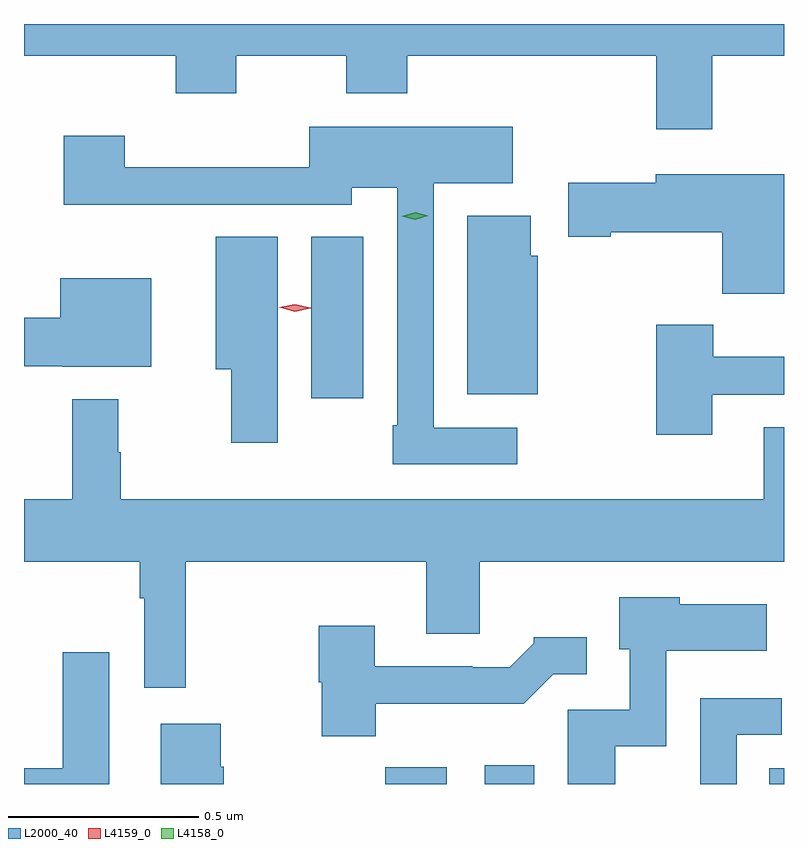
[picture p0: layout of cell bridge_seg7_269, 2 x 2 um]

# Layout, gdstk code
import gdstk
lib = gdstk.Library(unit=1e-6, precision=1e-09)
def R(c, l, rs):  # rectangles x0, y0, x1, y1
    for r in rs: c.add(gdstk.rectangle(r[:2], r[2:], *l))
def P(c, l, *ps):  # polygons
    for p in ps: c.add(gdstk.Polygon(p, *l))
L2000_40 = (2000, 40)
L4158_0 = (4158, 0)
L4159_0 = (4159, 0)

bridge_seg7_269 = lib.new_cell('bridge_seg7_269')
R(bridge_seg7_269, L2000_40, [(223.264,1075.955,223.426,1075.999), (223.526,1075.955,223.657,1076.005), (224.275,1075.955,224.314,1075.996), (223.07,1076.97,223.207,1077.395)])
P(bridge_seg7_269, L2000_40, [(224.125,1077.872),(224.314,1077.872),(224.314,1077.955),(222.314,1077.955),(222.314,1077.872),(222.713,1077.872),(222.713,1077.773),(222.873,1077.773),(222.873,1077.872),(223.162,1077.872),(223.162,1077.773),(223.322,1077.773),(223.322,1077.872),(223.978,1077.872),(223.978,1077.678),(224.125,1077.678)],
  [(223.612,1076.892),(223.392,1076.892),(223.392,1077.536),(223.6,1077.536),(223.6,1077.685),(223.064,1077.685),(223.064,1077.578),(222.579,1077.578),(222.579,1077.661),(222.419,1077.661),(222.419,1077.479),(222.667,1077.479),(222.667,1077.48),(223.177,1077.48),(223.177,1077.524),(223.296,1077.524),(223.296,1076.899),(223.284,1076.899),(223.284,1076.796),(223.612,1076.796)],
  [(224.314,1077.559),(223.976,1077.559),(223.976,1077.537),(223.746,1077.537),(223.746,1077.395),(223.858,1077.395),(223.858,1077.407),(224.152,1077.407),(224.152,1077.245),(224.314,1077.245)],
  [(223.666,1077.345),(223.648,1077.345),(223.648,1077.451),(223.481,1077.451),(223.481,1076.981),(223.666,1076.981)],
  [(222.982,1077.395),(222.818,1077.395),(222.818,1077.047),(222.86,1077.047),(222.86,1076.853),(222.982,1076.853)],
  [(222.649,1077.286),(222.41,1077.286),(222.41,1077.182),(222.314,1077.182),(222.314,1077.054),(222.414,1077.054),(222.414,1077.053),(222.649,1077.053)],
  [(224.125,1076.979),(224.314,1076.979),(224.314,1077.079),(224.128,1077.079),(224.128,1077.163),(223.978,1077.163),(223.978,1076.874),(224.125,1076.874)],
  [(222.569,1076.828),(222.562,1076.828),(222.562,1076.968),(222.441,1076.968),(222.441,1076.704),(222.314,1076.704),(222.314,1076.54),(222.618,1076.54),(222.618,1076.444),(222.63,1076.444),(222.63,1076.208),(222.739,1076.208),(222.739,1076.54),(223.373,1076.54),(223.373,1076.35),(223.513,1076.35),(223.513,1076.54),(224.314,1076.54),(224.314,1076.894),(224.261,1076.894),(224.261,1076.704),(222.569,1076.704)],
  [(223.87,1076.054),(224.004,1076.054),(224.004,1076.306),(224.269,1076.306),(224.269,1076.428),(224.04,1076.428),(224.04,1076.446),(223.88,1076.446),(223.88,1076.31),(223.908,1076.31),(223.908,1076.151),(223.745,1076.151),(223.745,1075.955),(223.87,1075.955)],
  [(223.24,1076.166),(223.629,1076.166),(223.707,1076.244),(223.795,1076.244),(223.795,1076.341),(223.656,1076.341),(223.656,1076.326),(223.592,1076.262),(223.493,1076.262),(223.493,1076.265),(223.237,1076.265),(223.237,1076.371),(223.09,1076.371),(223.09,1076.223),(223.097,1076.223),(223.097,1076.081),(223.24,1076.081)],
  [(222.538,1076.302),(222.416,1076.302),(222.416,1075.996),(222.314,1075.996),(222.314,1075.955),(222.538,1075.955)],
  [(224.19,1076.085),(224.308,1076.085),(224.308,1076.181),(224.094,1076.181),(224.094,1075.955),(224.19,1075.955)],
  [(222.84,1076),(222.832,1076),(222.832,1076.113),(222.674,1076.113),(222.674,1075.955),(222.84,1075.955)])
P(bridge_seg7_269, L4158_0, [(223.343,1077.44),(223.308,1077.449),(223.308,1077.449),(223.308,1077.449),(223.343,1077.46),(223.378,1077.451),(223.378,1077.45),(223.378,1077.45)])
P(bridge_seg7_269, L4159_0, [(223.027,1077.198),(222.986,1077.209),(222.986,1077.209),(222.986,1077.21),(223.027,1077.218),(223.068,1077.208),(223.068,1077.208),(223.068,1077.207)])

lib.write_gds('bridge_seg7_269.gds')
